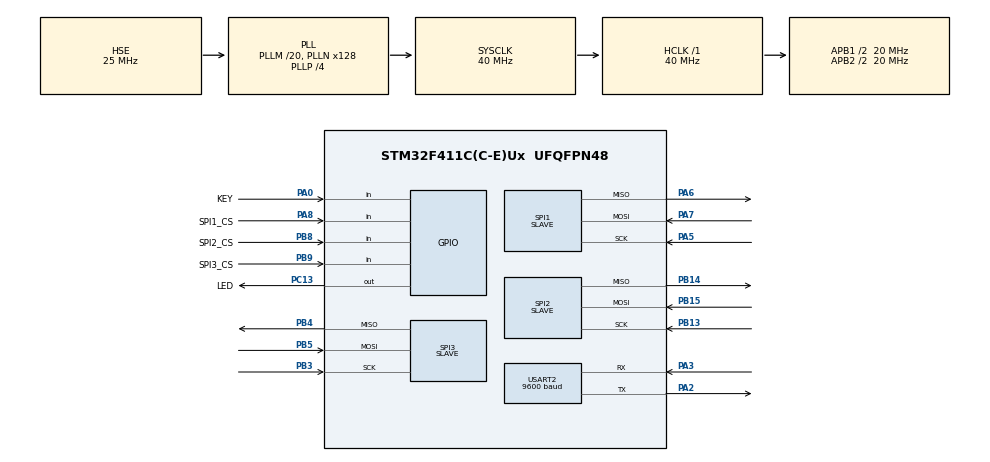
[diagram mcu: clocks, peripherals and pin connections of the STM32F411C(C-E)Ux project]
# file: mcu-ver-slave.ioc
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Mcu.Family=STM32F4
Mcu.Name=STM32F411C(C-E)Ux
Mcu.Package=UFQFPN48
NVIC.PriorityGroup=NVIC_PRIORITYGROUP_4
NVIC.RCC_IRQn=true\:0\:0\:false\:false\:true\:true\:false
NVIC.USART2_IRQn=true\:0\:0\:false\:false\:true\:true\:true
PA0-WKUP.GPIO_Label=KEY
PA0-WKUP.GPIO_PuPd=GPIO_PULLUP
PA0-WKUP.Signal=GPIO_Input
PA13.Mode=Serial_Wire
PA13.Signal=SYS_JTMS-SWDIO
PA14.Mode=Serial_Wire
PA14.Signal=SYS_JTCK-SWCLK
PA2.Mode=Asynchronous
PA2.Signal=USART2_TX
PA3.Mode=Asynchronous
PA3.Signal=USART2_RX
PA5.GPIO_PuPd=GPIO_PULLDOWN
PA5.Mode=Full_Duplex_Slave
PA5.Signal=SPI1_SCK
PA6.Mode=Full_Duplex_Slave
PA6.Signal=SPI1_MISO
PA7.GPIO_PuPd=GPIO_PULLDOWN
PA7.Mode=Full_Duplex_Slave
PA7.Signal=SPI1_MOSI
PA8.GPIO_Label=SPI1_CS
PA8.Signal=GPIO_Input
PB13.GPIO_PuPd=GPIO_PULLDOWN
PB13.Mode=Full_Duplex_Slave
PB13.Signal=SPI2_SCK
PB14.Mode=Full_Duplex_Slave
PB14.Signal=SPI2_MISO
PB15.GPIO_PuPd=GPIO_PULLDOWN
PB15.Mode=Full_Duplex_Slave
PB15.Signal=SPI2_MOSI
PB3.GPIO_PuPd=GPIO_PULLDOWN
PB3.Mode=Full_Duplex_Slave
PB3.Signal=SPI3_SCK
PB4.Mode=Full_Duplex_Slave
PB4.Signal=SPI3_MISO
PB5.GPIO_PuPd=GPIO_PULLDOWN
PB5.Mode=Full_Duplex_Slave
PB5.Signal=SPI3_MOSI
PB8.GPIO_Label=SPI2_CS
PB8.Signal=GPIO_Input
PB9.GPIO_Label=SPI3_CS
PB9.Signal=GPIO_Input
PC13-ANTI_TAMP.GPIO_Label=LED
PC13-ANTI_TAMP.Signal=GPIO_Output
PC14-OSC32_IN.Mode=LSE-External-Oscillator
PC14-OSC32_IN.Signal=RCC_OSC32_IN
PC15-OSC32_OUT.Mode=LSE-External-Oscillator
PC15-OSC32_OUT.Signal=RCC_OSC32_OUT
PH0\ -\ OSC_IN.Mode=HSE-External-Oscillator
PH0\ -\ OSC_IN.Signal=RCC_OSC_IN
PH1\ -\ OSC_OUT.Mode=HSE-External-Oscillator
PH1\ -\ OSC_OUT.Signal=RCC_OSC_OUT
ProjectManager.HeapSize=0x200
ProjectManager.StackSize=0x400
ProjectManager.TargetToolchain=STM32CubeIDE
RCC.48MHZClocksFreq_Value=40000000
RCC.AHBFreq_Value=40000000
RCC.APB1CLKDivider=RCC_HCLK_DIV2
RCC.APB1Freq_Value=20000000
RCC.APB1TimFreq_Value=40000000
RCC.APB2CLKDivider=RCC_HCLK_DIV2
RCC.APB2Freq_Value=20000000
RCC.APB2TimFreq_Value=40000000
RCC.CortexFreq_Value=40000000
RCC.HCLKFreq_Value=40000000
RCC.HSE_VALUE=25000000
RCC.HSI_VALUE=16000000
RCC.PLLM=20
RCC.PLLN=128
RCC.PLLP=RCC_PLLP_DIV4
RCC.PLLSourceVirtual=RCC_PLLSOURCE_HSE
RCC.RCC_RTC_Clock_Source=RCC_RTCCLKSOURCE_LSE
RCC.RCC_RTC_Clock_SourceVirtual=RCC_RTCCLKSOURCE_LSE
RCC.SYSCLKFreq_VALUE=40000000
RCC.SYSCLKSource=RCC_SYSCLKSOURCE_PLLCLK
RCC.VCOOutputFreq_Value=160000000
SPI1.CLKPhase=SPI_PHASE_2EDGE
SPI1.Direction=SPI_DIRECTION_2LINES
SPI1.Mode=SPI_MODE_SLAVE
SPI1.VirtualType=VM_SLAVE
SPI2.CLKPhase=SPI_PHASE_2EDGE
SPI2.Direction=SPI_DIRECTION_2LINES
SPI2.Mode=SPI_MODE_SLAVE
SPI2.VirtualType=VM_SLAVE
SPI3.CLKPhase=SPI_PHASE_2EDGE
SPI3.Direction=SPI_DIRECTION_2LINES
SPI3.Mode=SPI_MODE_SLAVE
SPI3.VirtualType=VM_SLAVE
USART2.BaudRate=9600
USART2.VirtualMode=VM_ASYNC
VP_RTC_VS_RTC_Activate.Mode=RTC_Enabled
board=custom

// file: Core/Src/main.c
/* USER CODE BEGIN Header */
/**
  ******************************************************************************
  * @file           : main.c
  * @brief          : Main program body
  ******************************************************************************
  * @attention
  *
  * <h2><center>&copy; Copyright (c) 2022 STMicroelectronics.
  * All rights reserved.</center></h2>
  *
  * This software component is licensed by ST under BSD 3-Clause license,
  * the "License"; You may not use this file except in compliance with the
  * License. You may obtain a copy of the License at:
  *                        opensource.org/licenses/BSD-3-Clause
  *
  ******************************************************************************
  */
/* USER CODE END Header */
#include "main.h"
#include "rtc.h"
#include "spi.h"
#include "usart.h"
#include "gpio.h"

/* USER CODE BEGIN PD */
#pragma clang diagnostic push
#pragma ide diagnostic ignored "EndlessLoop"
#define DAT_SIZE 1000
/* USER CODE END PD */

void SystemClock_Config(void);

/* USER CODE BEGIN 0 */
uint8_t dumb_prng(){
    static uint8_t prev1 = 220;
    static uint8_t prev2 = 6;
    uint8_t ret = prev1 + prev2;
    prev1 = prev2;
    prev2 = ret;
    return ret;
}

void spi_send(const uint8_t* dat, size_t dat_size, SPI_TypeDef* spi_dev){
    // Global interrupt disable
    __disable_irq();

    // Transmit Data
    LL_SPI_Disable(spi_dev);
    LL_SPI_Enable(spi_dev);
    LL_SPI_SetMode(spi_dev, LL_SPI_MODE_SLAVE);

    __asm__ __volatile__ (
    // r6: Temp storage for SPI status register value
    // r7: Array pointer
    // r8: Temporary storage for fetched data value
    // Setup
    "mov r7, %[ptr]\n\t"          // Set up array pointer
    // Main loop
    "loop1_start:\n\t"            //
    "cmp r7, %[ptr_end]\n\t"      // Have we reached the end of the array?
    "bcs loop1_end\n\t"           // If so, exit the loop
    "wait_loop:\n\t"              // Beginning of polling loop for TX readiness bits
    "ldr r6, [%[SPI_SR]]\n\t"     // Load SPI status register
    "tst r6, %[COND]\n\t"         // Is the TX buffer ready?
    "beq wait_loop\n\t"           // If not, keep polling
    "ldr r8, [r7], #1\n\t"        // Load next data point and increment pointer
    "strb r8, [%[SPI_DR]]\n\t"    // Write next data point to TX buffer
    "b loop1_start\n\t"           // Loop the loop
    "loop1_end:\n\t"              //
    // Make sure the TX buffer is empty before continuing
    "ldr r6, [%[SPI_SR]]\n\t"     // Load SPI status register
    "tst r6, %[COND]\n\t"         // Is the TX buffer ready?
    "beq loop1_end\n\t"           // If not, keep polling
    :
    : [SPI_SR] "r" (&(spi_dev->SR)), [SPI_DR] "r" (&(spi_dev->DR)), [COND] "I" (SPI_SR_TXE), [ptr] "r" (dat), [ptr_end] "r" (dat + dat_size)
    : "r6", "r7", "r8",  "memory"
    );
    // Wait for SPI peripheral to finish anything it's doing
    while(LL_SPI_IsActiveFlag_BSY(spi_dev));
    LL_SPI_Disable(spi_dev);
    __enable_irq();
}
/* USER CODE END 0 */

int main(void)
{

  /* MCU Configuration--------------------------------------------------------*/

  /* Reset of all peripherals, Initializes the Flash interface and the Systick. */
  HAL_Init();

  /* Configure the system clock */
  SystemClock_Config();

  /* Initialize all configured peripherals */
  MX_GPIO_Init();
  MX_RTC_Init();
  MX_SPI1_Init();
  MX_SPI2_Init();
  MX_SPI3_Init();
  MX_USART2_UART_Init();
  /* USER CODE BEGIN 2 */
    uint8_t dat[DAT_SIZE];
    for(unsigned int i = 0; i < DAT_SIZE; i++){
      dat[i] = dumb_prng();
    }

    // Initially set LED low
    HAL_GPIO_WritePin(LED_GPIO_Port, LED_Pin, GPIO_PIN_SET);

    LL_SPI_Disable(SPI1);
    LL_SPI_Disable(SPI2);
    LL_SPI_Disable(SPI3);

    spi_send(dat, DAT_SIZE, SPI1);
    spi_send(dat, DAT_SIZE, SPI2);
    spi_send(dat, DAT_SIZE, SPI3);
    HAL_Delay(3);
    HAL_UART_Transmit(&huart2, dat, DAT_SIZE, HAL_MAX_DELAY);

    // Light up the LED to indicate that transmission is complete
    HAL_GPIO_WritePin(LED_GPIO_Port, LED_Pin, GPIO_PIN_RESET);

  /* USER CODE END 2 */

  /* Infinite loop */
  /* USER CODE BEGIN WHILE */
    while (1);
    /* USER CODE END WHILE */

}

void SystemClock_Config(void)
{
  RCC_OscInitTypeDef RCC_OscInitStruct = {0};
  RCC_ClkInitTypeDef RCC_ClkInitStruct = {0};
  RCC_PeriphCLKInitTypeDef PeriphClkInitStruct = {0};

  /** Configure the main internal regulator output voltage
  */
  __HAL_RCC_PWR_CLK_ENABLE();
  __HAL_PWR_VOLTAGESCALING_CONFIG(PWR_REGULATOR_VOLTAGE_SCALE1);
  /** Initializes the RCC Oscillators according to the specified parameters
  * in the RCC_OscInitTypeDef structure.
  */
  RCC_OscInitStruct.OscillatorType = RCC_OSCILLATORTYPE_HSE|RCC_OSCILLATORTYPE_LSE;
  RCC_OscInitStruct.HSEState = RCC_HSE_ON;
  RCC_OscInitStruct.LSEState = RCC_LSE_ON;
  RCC_OscInitStruct.PLL.PLLState = RCC_PLL_ON;
  RCC_OscInitStruct.PLL.PLLSource = RCC_PLLSOURCE_HSE;
  RCC_OscInitStruct.PLL.PLLM = 20;
  RCC_OscInitStruct.PLL.PLLN = 128;
  RCC_OscInitStruct.PLL.PLLP = RCC_PLLP_DIV4;
  RCC_OscInitStruct.PLL.PLLQ = 4;
  if (HAL_RCC_OscConfig(&RCC_OscInitStruct) != HAL_OK)
  {
    Error_Handler();
  }
  /** Initializes the CPU, AHB and APB buses clocks
  */
  RCC_ClkInitStruct.ClockType = RCC_CLOCKTYPE_HCLK|RCC_CLOCKTYPE_SYSCLK
                              |RCC_CLOCKTYPE_PCLK1|RCC_CLOCKTYPE_PCLK2;
  RCC_ClkInitStruct.SYSCLKSource = RCC_SYSCLKSOURCE_PLLCLK;
  RCC_ClkInitStruct.AHBCLKDivider = RCC_SYSCLK_DIV1;
  RCC_ClkInitStruct.APB1CLKDivider = RCC_HCLK_DIV2;
  RCC_ClkInitStruct.APB2CLKDivider = RCC_HCLK_DIV2;

  if (HAL_RCC_ClockConfig(&RCC_ClkInitStruct, FLASH_LATENCY_1) != HAL_OK)
  {
    Error_Handler();
  }
  PeriphClkInitStruct.PeriphClockSelection = RCC_PERIPHCLK_RTC;
  PeriphClkInitStruct.RTCClockSelection = RCC_RTCCLKSOURCE_LSE;
  if (HAL_RCCEx_PeriphCLKConfig(&PeriphClkInitStruct) != HAL_OK)
  {
    Error_Handler();
  }
}

void Error_Handler(void)
{
}

/************************ (C) COPYRIGHT STMicroelectronics *****END OF FILE****/
